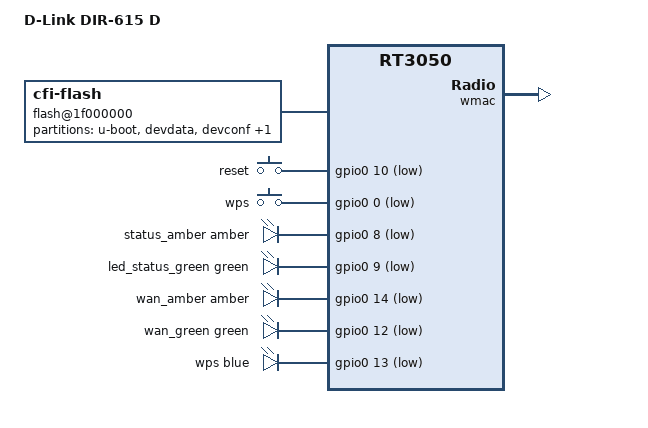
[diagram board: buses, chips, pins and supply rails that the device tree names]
#include "rt3050.dtsi"

#include <dt-bindings/gpio/gpio.h>
#include <dt-bindings/input/input.h>
#include <dt-bindings/leds/common.h>

/ {
	compatible = "dlink,dir-615-d", "ralink,rt3050-soc";
	model = "D-Link DIR-615 D";

	aliases {
		led-boot = &led_status_green;
		led-failsafe = &led_status_green;
		led-running = &led_status_green;
		led-upgrade = &led_status_green;
		label-mac-device = &wmac;
	};

	flash@1f000000 {
		compatible = "cfi-flash";
		reg = <0x1f000000 0x800000>;
		bank-width = <2>;
		device-width = <2>;

		partitions {
			compatible = "fixed-partitions";
			#address-cells = <1>;
			#size-cells = <1>;

			partition@0 {
				label = "u-boot";
				reg = <0x0 0x30000>;
				read-only;
			};

			partition@30000 {
				label = "devdata";
				reg = <0x30000 0x10000>;
				read-only;

				nvmem-layout {
					compatible = "fixed-layout";
					#address-cells = <1>;
					#size-cells = <1>;

					eeprom_devdata_4000: eeprom@4000 {
						reg = <0x4000 0x200>;
					};
				};
			};

			partition@40000 {
				label = "devconf";
				reg = <0x40000 0x10000>;
				read-only;
			};

			partition@50000 {
				compatible = "denx,uimage";
				label = "firmware";
				reg = <0x50000 0x3b0000>;
			};
		};
	};

	keys {
		compatible = "gpio-keys-polled";
		poll-interval = <20>;

		reset {
			label = "reset";
			gpios = <&gpio0 10 GPIO_ACTIVE_LOW>;
			linux,code = <KEY_RESTART>;
		};

		wps {
			label = "wps";
			gpios = <&gpio0 0 GPIO_ACTIVE_LOW>;
			linux,code = <KEY_WPS_BUTTON>;
		};
	};

	leds {
		compatible = "gpio-leds";

		status_amber {
			function = LED_FUNCTION_STATUS;
			color = <LED_COLOR_ID_AMBER>;
			gpios = <&gpio0 8 GPIO_ACTIVE_LOW>;
		};

		led_status_green: status_green {
			function = LED_FUNCTION_STATUS;
			color = <LED_COLOR_ID_GREEN>;
			gpios = <&gpio0 9 GPIO_ACTIVE_LOW>;
			default-state = "on";
		};

		wan_amber {
			function = LED_FUNCTION_WAN;
			color = <LED_COLOR_ID_AMBER>;
			gpios = <&gpio0 14 GPIO_ACTIVE_LOW>;
		};

		wan_green {
			function = LED_FUNCTION_WAN;
			color = <LED_COLOR_ID_GREEN>;
			gpios = <&gpio0 12 GPIO_ACTIVE_LOW>;
		};

		wps {
			function = LED_FUNCTION_WPS;
			color = <LED_COLOR_ID_BLUE>;
			gpios = <&gpio0 13 GPIO_ACTIVE_LOW>;
		};
	};
};

&esw {
	mediatek,portmap = <0x2f>;
};

&wmac {
	nvmem-cells = <&eeprom_devdata_4000>;
	nvmem-cell-names = "eeprom";
};

&state_default {
	gpio {
		groups = "i2c", "spi", "jtag", "mdio", "rgmii", "uartf";
		function = "gpio";
	};
};
